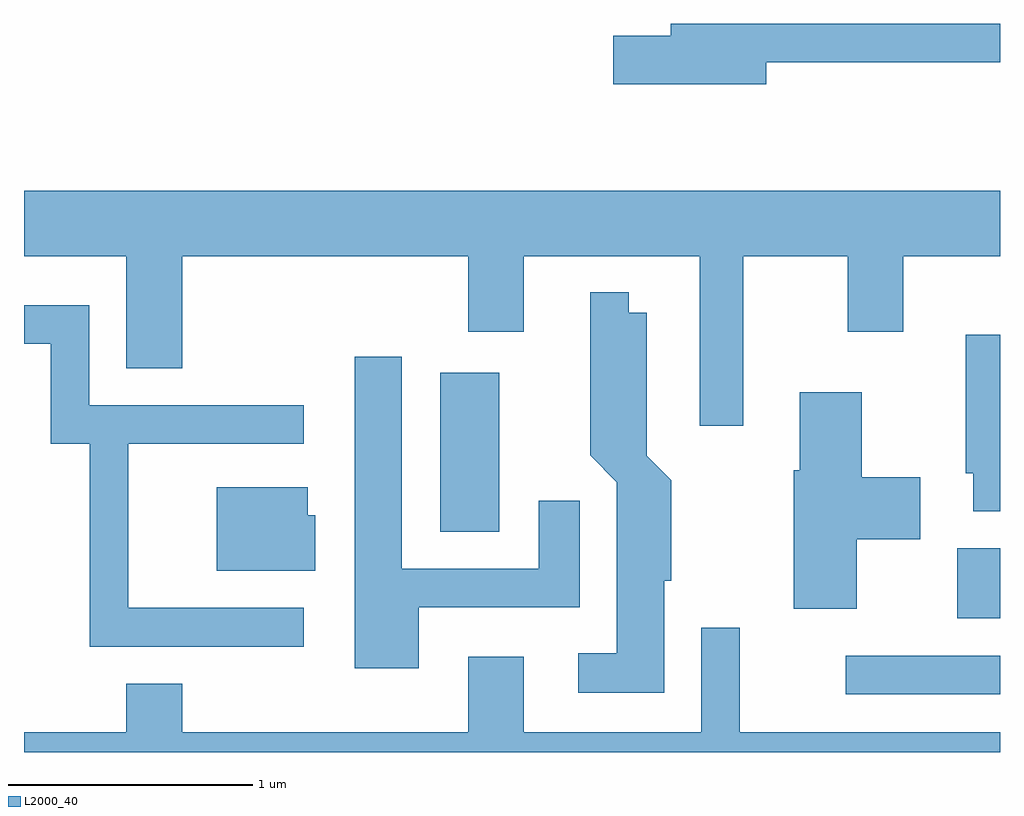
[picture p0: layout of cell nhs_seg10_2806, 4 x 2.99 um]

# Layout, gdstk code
import gdstk
lib = gdstk.Library(unit=1e-6, precision=1e-09)
def R(c, l, rs):  # rectangles x0, y0, x1, y1
    for r in rs: c.add(gdstk.rectangle(r[:2], r[2:], *l))
def P(c, l, *ps):  # polygons
    for p in ps: c.add(gdstk.Polygon(p, *l))
L2000_40 = (2000, 40)

nhs_seg10_2806 = lib.new_cell('nhs_seg10_2806')
R(nhs_seg10_2806, L2000_40, [(270.978,2138.761,271.611,2138.919), (271.436,2139.071,271.611,2139.359), (269.316,2139.426,269.559,2140.079)])
P(nhs_seg10_2806, L2000_40, [(270.654,2141.351),(271.611,2141.351),(271.611,2141.509),(270.261,2141.509),(270.261,2141.459),(270.026,2141.459),(270.026,2141.261),(270.654,2141.261)],
  [(270.559,2140.556),(270.986,2140.556),(270.986,2140.246),(271.214,2140.246),(271.214,2140.556),(271.611,2140.556),(271.611,2140.824),(267.611,2140.824),(267.611,2140.556),(268.031,2140.556),(268.031,2140.096),(268.259,2140.096),(268.259,2140.556),(269.431,2140.556),(269.431,2140.246),(269.659,2140.246),(269.659,2140.556),(270.381,2140.556),(270.381,2139.861),(270.559,2139.861)],
  [(270.234,2139.226),(270.264,2139.226),(270.264,2139.637),(270.164,2139.737),(270.164,2140.324),(270.089,2140.324),(270.089,2140.408),(269.931,2140.408),(269.931,2139.739),(270.041,2139.629),(270.041,2138.929),(269.883,2138.929),(269.883,2138.766),(270.234,2138.766)],
  [(268.758,2139.114),(268.039,2139.114),(268.039,2139.786),(268.758,2139.786),(268.758,2139.944),(267.879,2139.944),(267.879,2140.354),(267.611,2140.354),(267.611,2140.196),(267.721,2140.196),(267.721,2139.786),(267.881,2139.786),(267.881,2138.956),(268.758,2138.956)],
  [(271.611,2140.234),(271.471,2140.234),(271.471,2139.666),(271.501,2139.666),(271.501,2139.511),(271.611,2139.511)],
  [(269.229,2139.116),(269.889,2139.116),(269.889,2139.553),(269.721,2139.553),(269.721,2139.274),(269.159,2139.274),(269.159,2140.144),(268.966,2140.144),(268.966,2138.866),(269.229,2138.866)],
  [(271.024,2139.396),(271.284,2139.396),(271.284,2139.649),(271.044,2139.649),(271.044,2139.999),(270.791,2139.999),(270.791,2139.679),(270.766,2139.679),(270.766,2139.111),(271.024,2139.111)],
  [(268.804,2139.494),(268.774,2139.494),(268.774,2139.609),(268.401,2139.609),(268.401,2139.266),(268.804,2139.266)],
  [(271.611,2138.604),(270.544,2138.604),(270.544,2139.033),(270.386,2139.033),(270.386,2138.604),(269.659,2138.604),(269.659,2138.914),(269.431,2138.914),(269.431,2138.604),(268.259,2138.604),(268.259,2138.804),(268.031,2138.804),(268.031,2138.604),(267.611,2138.604),(267.611,2138.522),(271.611,2138.522)])

lib.write_gds('nhs_seg10_2806.gds')
